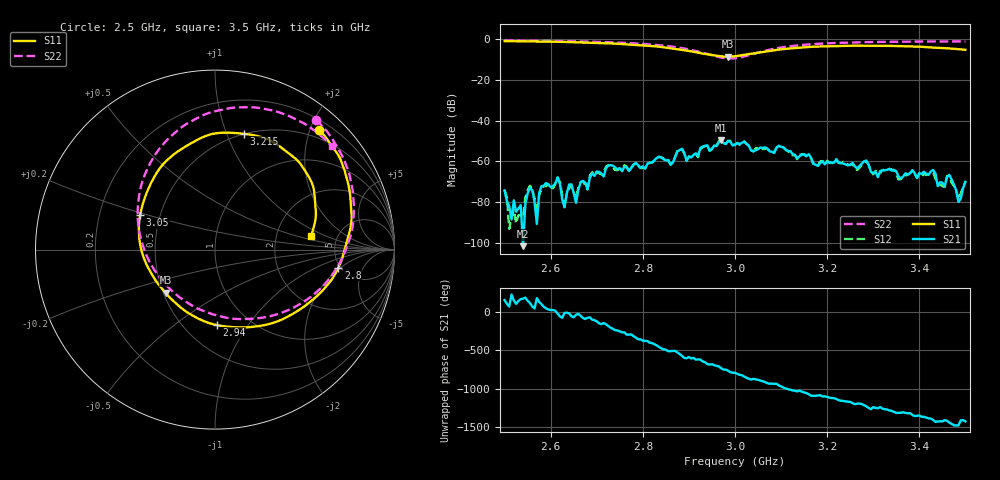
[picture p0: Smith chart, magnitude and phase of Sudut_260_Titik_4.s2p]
# Hz S RI R 50
! CMT, C1220, 16058040, 17.2.0/1
! Date: 15/08/2018 10:35:17
! Data: Format (Calibration Info)
! Freq  S11: Re/Im (F2)  S21: Re/Im (F2)  S12: Re/Im (F2)  S22: Re/Im (F2)
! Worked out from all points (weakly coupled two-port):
!   201 points, 2.5 GHz to 3.5 GHz, reference 50 ohm
!   highest |S21| = -49.64 dB at 2.97 GHz (marker M1); lowest = -101.5 dB at 2.54 GHz (marker M2)
!   lowest |S11| = -8.7 dB at 2.985 GHz (marker M3), VSWR 2.15, Z = 25.7 - j14.3 ohm
!   |S11| at or under -10 dB: nowhere
!   |S22| runs from -9.6 to -0.8 dB; largest |S21 - S12| = 0.00023
!   S11 on the Smith chart (normalised r, x): 2.5 GHz: 0.35, +2.15; 2.8 GHz: 4.80, -1.86; 2.94 GHz: 0.71, -0.72; 3.05 GHz: 0.39, +0.19; 3.215 GHz: 0.50, +1.15; 3.5 GHz: 3.19, +0.69
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2.5e9  0.5818 0.6659  -0.00017 9.28e-05  -0.00014 0.000139  0.5646 0.7222
2.54e9  0.6316 0.6047  -8.25e-06 1.4e-06  -3.91e-05 -1.8e-05  0.61 0.6744
2.615e9  0.7106 0.473  0.000366 -0.000161  0.000378 -0.00016  0.6874 0.5612
2.63e9  0.7246 0.432  7.41e-05 -1.93e-05  6.48e-05 -3.68e-05  0.7019 0.5345
2.645e9  0.735 0.3935  0.000138 -0.000237  0.000151 -0.000203  0.7163 0.5063
2.655e9  0.7408 0.3712  7.42e-05 -6.24e-05  7.78e-05 -8.27e-05  0.7247 0.4858
2.67e9  0.7486 0.3355  4.96e-05 -0.000326  3.94e-05 -0.000332  0.7376 0.453
2.8e9  0.6872 -0.1004  0.000724 -0.000209  0.00067 -0.000152  0.7538 0.0719
2.835e9  0.6038 -0.2232  -0.000176 -0.00129  -0.000148 -0.00128  0.7001 -0.0637
2.94e9  0.00843 -0.4203  0.00196 0.00152  0.00193 0.00154  0.1817 -0.3865
2.97e9  -0.1919 -0.3218  0.00316 -0.000926  0.00311 -0.00098  -0.0544 -0.3453
2.985e9  -0.2758 -0.2407  0.00215 -0.00231  0.00227 -0.00227  -0.1677 -0.2871
3e9  -0.3465 -0.1468  0.000638 -0.00246  0.000533 -0.00253  -0.2667 -0.2038
3.05e9  -0.4171 0.1921  -0.00194 -0.000484  -0.00203 -0.000468  -0.4302 0.1725
3.17e9  -0.0124 0.6448  0.000844 -0.000211  0.000873 -7.05e-05  -0.0785 0.7432
3.215e9  0.1601 0.6455  0.00065 -0.000665  0.000628 -0.000641  0.0846 0.7885
3.335e9  0.4702 0.4853  -0.000592 0.000279  -0.000581 0.000303  0.4022 0.7485
3.43e9  0.5576 0.2547  0.000527 0.00032  0.000448 0.000289  0.5641 0.6556
3.44e9  0.5601 0.2294  0.000241 5.17e-05  0.000297 3.56e-05  0.5787 0.643
3.465e9  0.5598 0.169  0.000468 -2.05e-05  0.000441 -4.56e-05  0.6105 0.6162
3.485e9  0.5481 0.1164  7.98e-05 -6.27e-05  9.53e-05 -6.11e-05  0.634 0.5918
3.5e9  0.5347 0.0764  0.000308 6.52e-05  0.000318 3.78e-05  0.6512 0.5747
